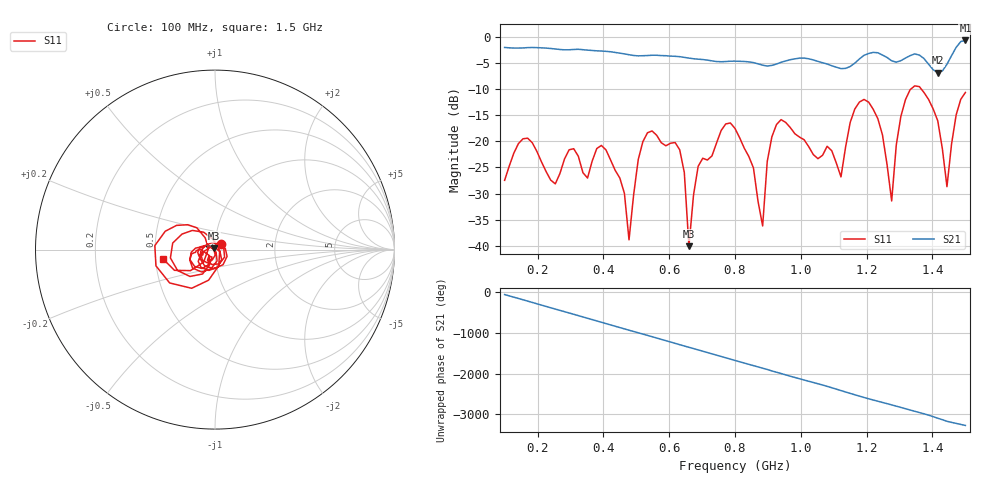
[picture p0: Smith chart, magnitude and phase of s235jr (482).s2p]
! NanoVNA-App
! Date: 2025-09-25 15:07:54
! Start: 100MHz Stop: 1,5GHz Points: 101
! S-Parameter data: F S11 S21 S12 S22
# Hz S RI R 50
!  Frequency  S11_Real  S11_Imag  S21_Real  S21_Imag  S12_Real  S12_Imag  S22_Real  S22_Imag
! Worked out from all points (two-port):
!   101 points, 100 MHz to 1.5 GHz, reference 50 ohm
!   highest |S21| = -0.62 dB at 1.5 GHz (marker M1); lowest = -6.8 dB at 1.416 GHz (marker M2)
!   |S21| within 3 dB of the highest: start of sweep to 603.7 MHz; 1.189 GHz to 1.254 GHz (64.89 MHz wide, 5.31 % of centre) (the widest 2 of 4)
!   lowest |S11| = -40.1 dB at 660 MHz (marker M3), VSWR 1.02, Z = 49.3 + j0.64 ohm
!   |S11| at or under -10 dB: start of sweep to 1.333 GHz; 1.367 GHz to end of sweep
!   S12 and S22 are empty: the file has one direction only
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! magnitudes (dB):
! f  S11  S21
! 100 MHz  -27.5  -2.0
! 170 MHz  -19.4  -2.0
! 338 MHz  -26.0  -2.4
! 408 MHz  -21.6  -2.7
! 478 MHz  -38.9  -3.4
! 520 MHz  -20.1  -3.6
! 576 MHz  -20.3  -3.5
! 632 MHz  -21.6  -3.7
! 660 MHz  -40.1  -4.0
! 688 MHz  -24.8  -4.2
! 800 MHz  -17.5  -4.6
! 884 MHz  -36.2  -5.4
! 898 MHz  -23.8  -5.5
! 926 MHz  -16.8  -5.2
! 1.038 GHz  -22.5  -4.4
! 1.122 GHz  -26.8  -6.0
! 1.206 GHz  -12.4  -3.1
! 1.276 GHz  -31.4  -4.5
! 1.332 GHz  -10.1  -3.5
! 1.416 GHz  -16.0  -6.8
! 1.444 GHz  -28.7  -5.2
! 1.5 GHz  -10.6  -0.6
